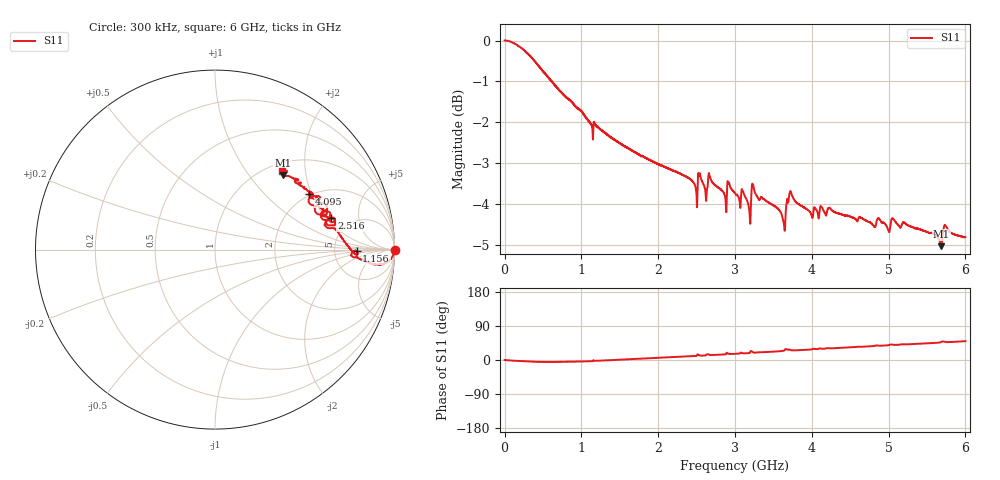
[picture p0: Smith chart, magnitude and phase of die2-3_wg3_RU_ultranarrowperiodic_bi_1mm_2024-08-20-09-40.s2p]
!Keysight Technologies,P9374A,MY57304198,A.17.20.09
!Date: Tuesday, August 20, 2024 09:40:30
!Correction: S11(C  1-Port  )
!S21(C  1-Port  )
!S12(Off)
!S22(Off)
!S2P File: Measurements: S11, S21, S12, S22:
# Hz S  dB  R 50
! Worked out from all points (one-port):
!   6000 points, 300 kHz to 6 GHz, reference 50 ohm
!   lowest |S11| = -5.0 dB at 5.686 GHz (marker M1), VSWR 3.55, Z = 61.4 + j74.1 ohm
!   |S11| at or under -10 dB: nowhere
!   S11 on the Smith chart (normalised r, x): 300 kHz: open; 1.156 GHz: 8.48, -0.28; 2.516 GHz: 3.55, +2.28; 4.095 GHz: 1.96, +1.93; 6 GHz: 1.14, +1.49
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300000  0.00 -0.0  -200.00 45.0  -200.00 45.0  -200.00 45.0
4.173487e8  -0.56 -4.9  -200.00 45.0  -200.00 45.0  -200.00 45.0
1.000417e9  -1.73 -3.9  -200.00 45.0  -200.00 45.0  -200.00 45.0
1.156435e9  -2.06 -0.4  -200.00 45.0  -200.00 45.0  -200.00 45.0
2.000533e9  -3.02 5.9  -200.00 45.0  -200.00 45.0  -200.00 45.0
2.473589e9  -3.52 10.4  -200.00 45.0  -200.00 45.0  -200.00 45.0
2.515593e9  -3.45 15.2  -200.00 45.0  -200.00 45.0  -200.00 45.0
2.682613e9  -3.38 13.1  -200.00 45.0  -200.00 45.0  -200.00 45.0
3.00065e9  -3.73 16.3  -200.00 45.0  -200.00 45.0  -200.00 45.0
3.16767e9  -3.97 18.0  -200.00 45.0  -200.00 45.0  -200.00 45.0
3.228677e9  -3.52 20.9  -200.00 45.0  -200.00 45.0  -200.00 45.0
3.281683e9  -3.80 19.6  -200.00 45.0  -200.00 45.0  -200.00 45.0
3.612721e9  -4.29 23.4  -200.00 45.0  -200.00 45.0  -200.00 45.0
3.68573e9  -3.90 27.0  -200.00 45.0  -200.00 45.0  -200.00 45.0
3.743737e9  -3.80 25.5  -200.00 45.0  -200.00 45.0  -200.00 45.0
4.000767e9  -4.30 28.0  -200.00 45.0  -200.00 45.0  -200.00 45.0
4.094778e9  -4.30 30.5  -200.00 45.0  -200.00 45.0  -200.00 45.0
5.000883e9  -4.66 39.3  -200.00 45.0  -200.00 45.0  -200.00 45.0
5.22991e9  -4.49 41.2  -200.00 45.0  -200.00 45.0  -200.00 45.0
5.685963e9  -5.03 47.6  -200.00 45.0  -200.00 45.0  -200.00 45.0
5.761972e9  -4.59 47.1  -200.00 45.0  -200.00 45.0  -200.00 45.0
6e9  -4.80 49.7  -200.00 45.0  -200.00 45.0  -200.00 45.0
